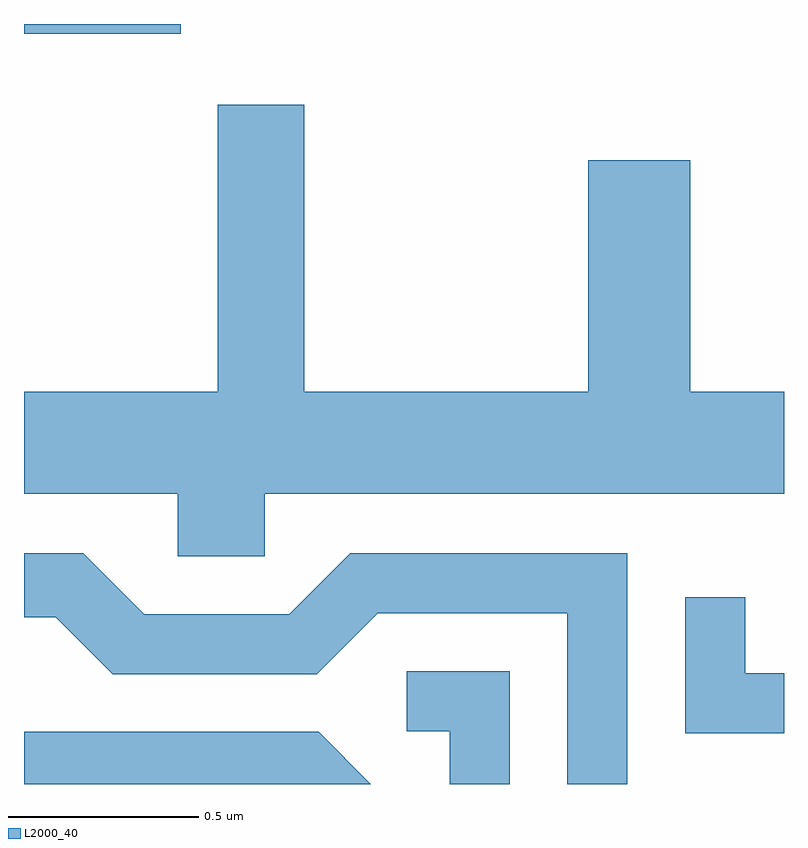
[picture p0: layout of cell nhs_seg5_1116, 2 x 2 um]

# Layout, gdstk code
import gdstk
lib = gdstk.Library(unit=1e-6, precision=1e-09)
def R(c, l, rs):  # rectangles x0, y0, x1, y1
    for r in rs: c.add(gdstk.rectangle(r[:2], r[2:], *l))
def P(c, l, *ps):  # polygons
    for p in ps: c.add(gdstk.Polygon(p, *l))
L2000_40 = (2000, 40)

nhs_seg5_1116 = lib.new_cell('nhs_seg5_1116')
R(nhs_seg5_1116, L2000_40, [(193.611,1418.046,194.024,1418.072)])
P(nhs_seg5_1116, L2000_40, [(194.244,1416.836),(195.611,1416.836),(195.611,1417.104),(195.364,1417.104),(195.364,1417.714),(195.096,1417.714),(195.096,1417.104),(194.349,1417.104),(194.349,1417.859),(194.121,1417.859),(194.121,1417.104),(193.611,1417.104),(193.611,1416.836),(194.016,1416.836),(194.016,1416.671),(194.244,1416.671)],
  [(195.199,1416.679),(194.469,1416.679),(194.309,1416.519),(193.927,1416.519),(193.767,1416.679),(193.611,1416.679),(193.611,1416.511),(193.694,1416.511),(193.844,1416.361),(194.382,1416.361),(194.542,1416.521),(195.041,1416.521),(195.041,1416.072),(195.199,1416.072)],
  [(195.611,1416.364),(195.509,1416.364),(195.509,1416.563),(195.351,1416.563),(195.351,1416.206),(195.611,1416.206)],
  [(194.889,1416.369),(194.618,1416.369),(194.618,1416.211),(194.731,1416.211),(194.731,1416.072),(194.889,1416.072)],
  [(194.387,1416.209),(193.611,1416.209),(193.611,1416.072),(194.524,1416.072)])

lib.write_gds('nhs_seg5_1116.gds')
